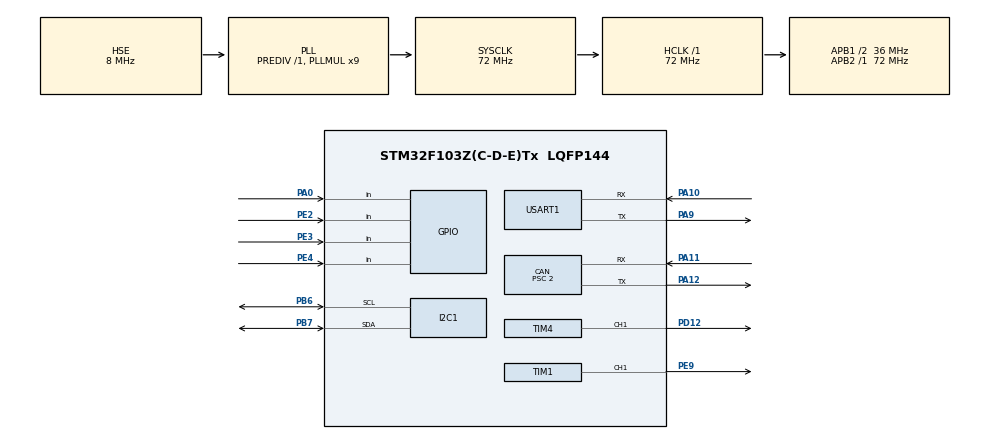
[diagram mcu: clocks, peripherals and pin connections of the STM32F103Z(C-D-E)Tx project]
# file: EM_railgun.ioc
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CAN.BS1=CAN_BS1_9TQ
CAN.BS2=CAN_BS2_8TQ
CAN.CalculateTimeBit=1000
CAN.CalculateTimeQuantum=55.55555555555556
CAN.Prescaler=2
Mcu.Family=STM32F1
Mcu.Name=STM32F103Z(C-D-E)Tx
Mcu.Package=LQFP144
NVIC.PriorityGroup=NVIC_PRIORITYGROUP_4
NVIC.TIM3_IRQn=true\:0\:0\:false\:false\:true\:true\:true
NVIC.TIM4_IRQn=true\:0\:0\:false\:false\:true\:true\:true
NVIC.USART1_IRQn=true\:0\:0\:false\:false\:true\:true\:true
NVIC.USB_LP_CAN1_RX0_IRQn=true\:0\:0\:false\:false\:true\:true\:true
OSC_IN.Mode=HSE-External-Oscillator
OSC_IN.Signal=RCC_OSC_IN
OSC_OUT.Mode=HSE-External-Oscillator
OSC_OUT.Signal=RCC_OSC_OUT
PA0-WKUP.GPIO_PuPd=GPIO_PULLDOWN
PA0-WKUP.Signal=GPIO_Input
PA10.Mode=Asynchronous
PA10.Signal=USART1_RX
PA11.Mode=Master
PA11.Signal=CAN_RX
PA12.Mode=Master
PA12.Signal=CAN_TX
PA13.Mode=Serial_Wire
PA13.Signal=SYS_JTMS-SWDIO
PA14.Mode=Serial_Wire
PA14.Signal=SYS_JTCK-SWCLK
PA9.Mode=Asynchronous
PA9.Signal=USART1_TX
PB6.Mode=I2C
PB6.Signal=I2C1_SCL
PB7.Mode=I2C
PB7.Signal=I2C1_SDA
PC14-OSC32_IN.Mode=LSE-External-Oscillator
PC14-OSC32_IN.Signal=RCC_OSC32_IN
PC15-OSC32_OUT.Mode=LSE-External-Oscillator
PC15-OSC32_OUT.Signal=RCC_OSC32_OUT
PD12.Signal=S_TIM4_CH1
PE2.Signal=GPIO_Input
PE3.Signal=GPIO_Input
PE4.Signal=GPIO_Input
PE9.Signal=S_TIM1_CH1
ProjectManager.HeapSize=0x200
ProjectManager.StackSize=0x400
ProjectManager.TargetToolchain=MDK-ARM V5.27
RCC.AHBFreq_Value=72000000
RCC.APB1CLKDivider=RCC_HCLK_DIV2
RCC.APB1Freq_Value=36000000
RCC.APB1TimFreq_Value=72000000
RCC.APB2Freq_Value=72000000
RCC.APB2TimFreq_Value=72000000
RCC.HCLKFreq_Value=72000000
RCC.PLLMUL=RCC_PLL_MUL9
RCC.PLLSourceVirtual=RCC_PLLSOURCE_HSE
RCC.SYSCLKFreq_VALUE=72000000
RCC.SYSCLKSource=RCC_SYSCLKSOURCE_PLLCLK
RCC.USBFreq_Value=72000000
SH.S_TIM1_CH1.0=TIM1_CH1,PWM Generation1 CH1
SH.S_TIM4_CH1.0=TIM4_CH1,PWM Generation1 CH1
TIM1.Channel-PWM\ Generation1\ CH1=TIM_CHANNEL_1
TIM1.Period=2000-1
TIM1.Prescaler=720-1
TIM3.Period=10000-1
TIM3.Prescaler=7200-1
TIM4.Channel-PWM\ Generation1\ CH1=TIM_CHANNEL_1
TIM4.Period=2000-1
TIM4.Prescaler=720-1
USART1.VirtualMode=VM_ASYNC
VP_TIM1_VS_ClockSourceINT.Mode=Internal
VP_TIM3_VS_ClockSourceINT.Mode=Internal
VP_TIM4_VS_ClockSourceINT.Mode=Internal
board=custom

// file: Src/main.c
/* USER CODE BEGIN Header */
/**
  ******************************************************************************
  * @file           : main.c
  * @brief          : Main program body
  ******************************************************************************
  * @attention
  *
  * <h2><center>&copy; Copyright (c) 2023 STMicroelectronics.
  * All rights reserved.</center></h2>
  *
  * This software component is licensed by ST under BSD 3-Clause license,
  * the "License"; You may not use this file except in compliance with the
  * License. You may obtain a copy of the License at:
  *                        opensource.org/licenses/BSD-3-Clause
  *
  ******************************************************************************
  */
/* USER CODE END Header */

#include "main.h"
#include "can.h"
#include "i2c.h"
#include "tim.h"
#include "usart.h"
#include "gpio.h"

/* USER CODE BEGIN Includes */
#include "oled.h"
#include "key.h"
#include "MG4005V2.h"
int timer=1;
int key0=0;
int key1=0;
int key2=0;
int keyup=0;

uint16_t encoderValue = 0;

static uint8_t motorId = 1;
static uint32_t ctlValue = 100*10;
static uint32_t txMailBox;

static int32_t angleControl = 30000;

int buffArr[1]={0};
int dataArr[7]={0};

//int32_t target_angle=0;
//int     target_pwm=150;
//int _motorSingal=0;
//int real_distance=200;

int32_t target_angle_x=0;
int     target_angle_y=0;
int _motorSingal=0;
int real_distance=200;
/* USER CODE END Includes */

/* USER CODE BEGIN PTD */
struct FILE{
	int handle;
};
int fputc(int ch,struct FILE *f)
{
	HAL_UART_Transmit(&huart1,(uint8_t*)&ch,1,0xffff);
	return ch;
}
/* USER CODE END PTD */

void SystemClock_Config(void);
/* USER CODE BEGIN PFP */
//			key1=1;
//			key_state[key_mandowm]=1;
/* USER CODE END PFP */

/* USER CODE BEGIN 0 */
void HAL_TIM_PeriodElapsedCallback(TIM_HandleTypeDef* htim)
{
	if(htim->Instance==TIM3)
	{
		timer++;
		//key_mandown
		if(HAL_GPIO_ReadPin(GPIOE,GPIO_PIN_3)==0){
			while(HAL_GPIO_ReadPin(GPIOE,GPIO_PIN_3)==0)
			{
				key1=1;
				key_state[key_mandowm]=1;
			}
		}
		else if(HAL_GPIO_ReadPin(GPIOE,GPIO_PIN_3)==1){
			key1=0;
		}
		//key_rangeup
		if(HAL_GPIO_ReadPin(GPIOE,GPIO_PIN_4)==0){
			while(HAL_GPIO_ReadPin(GPIOE,GPIO_PIN_4)==0)
			{
				key0=1;
				key_state[key_rangeup]=1;
			}
		}
		else if(HAL_GPIO_ReadPin(GPIOE,GPIO_PIN_4)==1){
			key0=0;
		}
		//key_rangedowm
		if(HAL_GPIO_ReadPin(GPIOE,GPIO_PIN_2)==0){
			while(HAL_GPIO_ReadPin(GPIOE,GPIO_PIN_2)==0)
			{
				key2=1;
				key_state[key_rangedowm]=1;
			}
		}
		else if(HAL_GPIO_ReadPin(GPIOE,GPIO_PIN_2)==1){
			key2=0;
		}
		//key_manup
		if(HAL_GPIO_ReadPin(GPIOA,GPIO_PIN_0)==1){
			while(HAL_GPIO_ReadPin(GPIOA,GPIO_PIN_0)==1)
			{
			    keyup=1;
				key_state[key_manup]=1;
			}
		}
		else if(HAL_GPIO_ReadPin(GPIOA,GPIO_PIN_0)==0){
			keyup=0;
		}

		Key_Start();
		OLED_ShowNum(220,1,(uint16_t)target_angle_y,16,16);
		OLED_ShowString(1,1,(uint8_t*)"angley:",16);
		OLED_ShowNum(220,4,(uint16_t)target_angle_x/100,16,16);
		OLED_ShowString(1,4,(uint8_t*)"anglex:",16);

	}

	if(htim->Instance==TIM4)
	{
		if(_motorSingal==1)
		{
//			__HAL_TIM_SET_COMPARE(&htim4,TIM_CHANNEL_1,target_angle_y);
//		    AngleCloseControlLoop6(1,target_angle_x,1500);
//			_motorSingal=0;
		}

	}
}

void HAL_UART_RxCpltCallback(UART_HandleTypeDef *UartHandle)
{

	if(UartHandle->Instance==USART1)
	{
		static int state=0;
		if(buffArr[0]==0x2c||state==1)
		{
			state=1;
			static int length=0;
			dataArr[length++]=buffArr[0];
			if(length==7)
			{
				length=0;
				state=0;
				_motorSingal=1;

				int tempx=dataArr[3]*40;
				//dataArr[3]=0;
				int tempy=dataArr[5]/40;
				//dataArr[5]=0;
				if(dataArr[2]==0)
				{
					tempx=-tempx;
				}
				if(dataArr[4]==1)
				{
					tempy=-tempy;
				}
				static int temp=150;
				temp=temp+tempy;

				target_angle_y=temp;
				target_angle_x=tempx;
				if(target_angle_y<=70){target_angle_y=70;}//上限
				else if(target_angle_y>=170){target_angle_y=170;}//下限
				if(dataArr[6]==0){temp=150;target_angle_y=150;}
			}
		}
		HAL_UART_Receive_IT(&huart1,(uint8_t*)buffArr,1);
	}
}
/* USER CODE END 0 */

int main(void)
{

  /* MCU Configuration--------------------------------------------------------*/

  /* Reset of all peripherals, Initializes the Flash interface and the Systick. */
  HAL_Init();

  /* Configure the system clock */
  SystemClock_Config();

  /* Initialize all configured peripherals */
  MX_GPIO_Init();
  MX_I2C1_Init();
  MX_TIM1_Init();
  MX_TIM3_Init();
  MX_CAN_Init();
  MX_TIM4_Init();
  MX_USART1_UART_Init();
  /* USER CODE BEGIN 2 */
  HAL_TIM_Base_Start_IT(&htim3);
  HAL_TIM_Base_Start_IT(&htim4);
  OLED_Init();
  OLED_Display_On();
  Key_Init();
  OLED_ClearMYself();
  HAL_UART_Receive_IT(&huart1,(uint8_t*)buffArr,1);
  HAL_TIM_PWM_Start(&htim1,TIM_CHANNEL_1);
  HAL_TIM_PWM_Start(&htim4,TIM_CHANNEL_1);
  __HAL_TIM_SET_COMPARE(&htim4,TIM_CHANNEL_1,150);
  /* USER CODE END 2 */

  /* Infinite loop */
  while (1)
  {

    /* USER CODE BEGIN 3 */
//	canTxHeader.StdId = DEVICE_STD_ID + motorId;
//	canTxHeader.ExtId = 0x00;
//	canTxHeader.RTR = CAN_RTR_DATA;
//	canTxHeader.IDE = CAN_ID_STD;
//	canTxHeader.DLC = 8;
//
//	canTxData[0] = 0xA7;
//	canTxData[1] = 0x00;
//	canTxData[2] = 0x00;
//	canTxData[3] = 0x00;
//	canTxData[4] = *((uint8_t *)&angleControl + 0);
//	canTxData[5] = *((uint8_t *)&angleControl + 1);
//	canTxData[6] = *((uint8_t *)&angleControl + 2);
//	canTxData[7] = *((uint8_t *)&angleControl + 3);
//
//	/* send can command */
//	HAL_CAN_AddTxMessage(&hcan, &canTxHeader, canTxData, &txMailBox);
	//AngleCloseControlLoop5(1,36000);
	//AngleCloseControlLoop1(1,8900);
	//SpeedCloseControlLoop(motorId,1000);
	//AngleCloseControlLoop6(1,-90000,2000);
//	AngleCloseControlLoop6(1,359999,2000);
////	HAL_Delay(1000);
//	__HAL_TIM_SET_COMPARE(&htim4,TIM_CHANNEL_1,130);
//	HAL_Delay(1000-1);
	__HAL_TIM_SET_COMPARE(&htim4,TIM_CHANNEL_1,150);
	HAL_Delay(1000-1);
//		__HAL_TIM_SET_COMPARE(&htim4,TIM_CHANNEL_1,170);
//	HAL_Delay(1000-1);

  }
  /* USER CODE END 3 */
}

void SystemClock_Config(void)
{
  RCC_OscInitTypeDef RCC_OscInitStruct = {0};
  RCC_ClkInitTypeDef RCC_ClkInitStruct = {0};

  /** Initializes the CPU, AHB and APB busses clocks
  */
  RCC_OscInitStruct.OscillatorType = RCC_OSCILLATORTYPE_HSE;
  RCC_OscInitStruct.HSEState = RCC_HSE_ON;
  RCC_OscInitStruct.HSEPredivValue = RCC_HSE_PREDIV_DIV1;
  RCC_OscInitStruct.HSIState = RCC_HSI_ON;
  RCC_OscInitStruct.PLL.PLLState = RCC_PLL_ON;
  RCC_OscInitStruct.PLL.PLLSource = RCC_PLLSOURCE_HSE;
  RCC_OscInitStruct.PLL.PLLMUL = RCC_PLL_MUL9;
  if (HAL_RCC_OscConfig(&RCC_OscInitStruct) != HAL_OK)
  {
    Error_Handler();
  }
  /** Initializes the CPU, AHB and APB busses clocks
  */
  RCC_ClkInitStruct.ClockType = RCC_CLOCKTYPE_HCLK|RCC_CLOCKTYPE_SYSCLK
                              |RCC_CLOCKTYPE_PCLK1|RCC_CLOCKTYPE_PCLK2;
  RCC_ClkInitStruct.SYSCLKSource = RCC_SYSCLKSOURCE_PLLCLK;
  RCC_ClkInitStruct.AHBCLKDivider = RCC_SYSCLK_DIV1;
  RCC_ClkInitStruct.APB1CLKDivider = RCC_HCLK_DIV2;
  RCC_ClkInitStruct.APB2CLKDivider = RCC_HCLK_DIV1;

  if (HAL_RCC_ClockConfig(&RCC_ClkInitStruct, FLASH_LATENCY_2) != HAL_OK)
  {
    Error_Handler();
  }
}

/* USER CODE BEGIN 4 */
void HAL_CAN_RxFifo0MsgPendingCallback(CAN_HandleTypeDef *hcan)
{
  /* Get RX message */
  if (HAL_CAN_GetRxMessage(hcan, CAN_RX_FIFO0, &canRxHeader, canRxData) != HAL_OK)
  {
    /* Reception Error */
    Error_Handler();
  }

  if ((canRxHeader.StdId == (DEVICE_STD_ID + motorId)) && (canRxHeader.DLC == 8))
  {
		/* get encoder value */
		encoderValue = (canRxData[7] << 8) + canRxData[6];

		//LED1_TOGGLE();
  }
}
/* USER CODE END 4 */

void Error_Handler(void)
{
}

/************************ (C) COPYRIGHT STMicroelectronics *****END OF FILE****/
